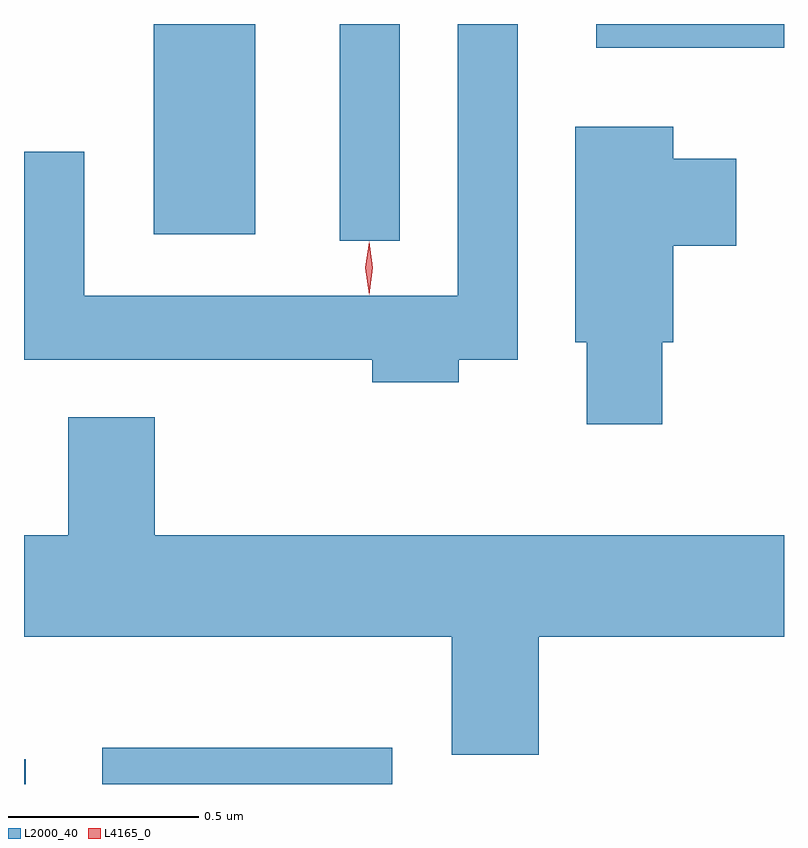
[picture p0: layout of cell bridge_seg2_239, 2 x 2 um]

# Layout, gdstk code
import gdstk
lib = gdstk.Library(unit=1e-6, precision=1e-09)
def R(c, l, rs):  # rectangles x0, y0, x1, y1
    for r in rs: c.add(gdstk.rectangle(r[:2], r[2:], *l))
def P(c, l, *ps):  # polygons
    for p in ps: c.add(gdstk.Polygon(p, *l))
L2000_40 = (2000, 40)
L4165_0 = (4165, 0)

bridge_seg2_239 = lib.new_cell('bridge_seg2_239')
R(bridge_seg2_239, L2000_40, [(564.575,1050.149,564.579,1050.214), (564.781,1050.149,565.544,1050.244), (565.406,1051.578,565.564,1052.149), (564.916,1051.596,565.184,1052.149), (566.081,1052.086,566.575,1052.149)])
P(bridge_seg2_239, L2000_40, [(565.719,1051.266),(565.874,1051.266),(565.874,1052.149),(565.716,1052.149),(565.716,1051.434),(564.734,1051.434),(564.734,1051.813),(564.576,1051.813),(564.576,1051.266),(565.491,1051.266),(565.491,1051.206),(565.719,1051.206)],
  [(566.254,1051.311),(566.284,1051.311),(566.284,1051.566),(566.449,1051.566),(566.449,1051.794),(566.284,1051.794),(566.284,1051.879),(566.026,1051.879),(566.026,1051.311),(566.056,1051.311),(566.056,1051.096),(566.254,1051.096)],
  [(565.929,1050.536),(566.575,1050.536),(566.575,1050.804),(564.919,1050.804),(564.919,1051.114),(564.691,1051.114),(564.691,1050.804),(564.575,1050.804),(564.575,1050.536),(565.701,1050.536),(565.701,1050.226),(565.929,1050.226)])
P(bridge_seg2_239, L4165_0, [(565.483,1051.437),(565.483,1051.437),(565.473,1051.507),(565.483,1051.576),(565.483,1051.576),(565.484,1051.576),(565.493,1051.507),(565.484,1051.437)])

lib.write_gds('bridge_seg2_239.gds')
